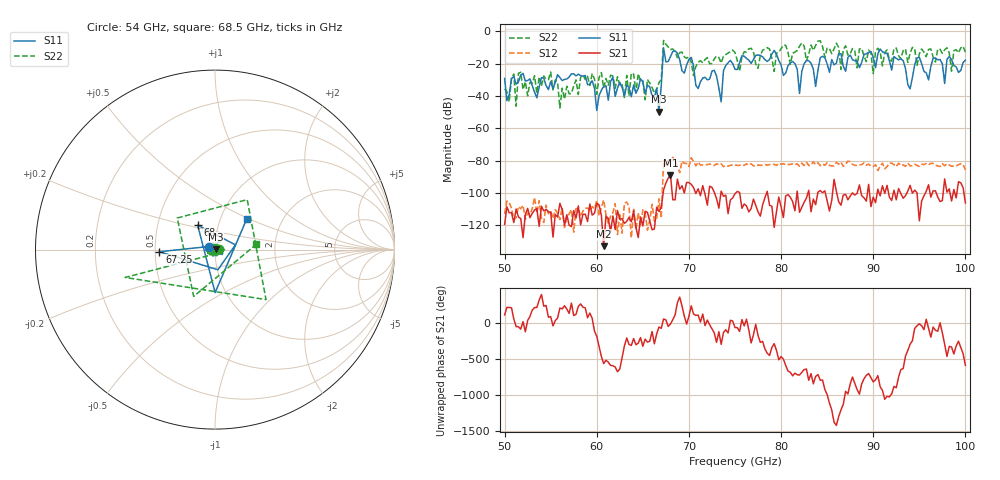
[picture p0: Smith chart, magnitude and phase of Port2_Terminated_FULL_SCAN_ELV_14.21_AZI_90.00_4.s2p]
! 11/25/2026 1:40:47 PM
! C:\ANRITSUVNA\TEMP\TEMP.S2P
! CHANNEL.1
! TR.MEASUREMENT
! RAW.DATA
# HZ S RI R 50.0
! FREQ.HZ  S11RE  S11IM  S21RE  S21IM  S12RE  S12IM  S22RE  S22IM
!; PortSelection: Port_12
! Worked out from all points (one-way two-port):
!   201 points, 50 GHz to 100 GHz, reference 50 ohm
!   highest |S21| = -89.04 dB at 68 GHz (marker M1); lowest = -133.0 dB at 60.75 GHz (marker M2)
!   lowest |S11| = -49.8 dB at 66.75 GHz (marker M3), VSWR 1.01, Z = 50.3 + j0.0718 ohm
!   |S11| at or under -10 dB: start of sweep to end of sweep
!   |S22| runs from -47.5 to -5.6 dB; largest |S21 - S12| = 0.00014
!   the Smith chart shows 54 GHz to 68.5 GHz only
!   S11 on the Smith chart (normalised r, x): 54 GHz: 0.93, +0.03; 67.25 GHz: 0.53, -0.01; 68 GHz: 0.80, +0.22; 68.5 GHz: 1.33, +0.49
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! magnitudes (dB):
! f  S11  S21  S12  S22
! 50 GHz  -29.1  -119.6  -113.0  -35.6
! 54 GHz  -28.7  -108.3  -115.6  -33.8
! 55 GHz  -30.9  -112.0  -111.1  -25.2
! 56 GHz  -28.6  -106.5  -116.6  -47.5
! 58.5 GHz  -27.7  -113.3  -111.3  -26.9
! 60 GHz  -49.0  -106.4  -104.6  -38.9
! 60.75 GHz  -34.0  -133.0  -104.4  -35.0
! 64.75 GHz  -29.4  -114.9  -120.5  -30.9
! 66.75 GHz  -49.8  -111.6  -103.7  -31.9
! 67.25 GHz  -10.2  -98.2  -79.9  -5.6
! 68 GHz  -15.5  -89.0  -82.0  -11.2
! 68.5 GHz  -12.1  -104.3  -80.4  -12.7
! 73.5 GHz  -43.6  -98.9  -82.1  -19.6
! 73.75 GHz  -24.3  -102.1  -83.7  -15.3
! 75 GHz  -23.4  -100.6  -82.8  -13.1
! 79.25 GHz  -11.8  -121.4  -82.4  -24.8
! 82 GHz  -38.4  -112.0  -83.5  -9.2
! 83.5 GHz  -23.3  -103.8  -80.8  -11.7
! 91.75 GHz  -18.1  -102.7  -81.7  -17.5
! 94 GHz  -35.6  -95.4  -83.3  -13.7
! 94.75 GHz  -16.5  -99.9  -82.9  -21.1
! 100 GHz  -17.8  -106.2  -85.7  -12.9
